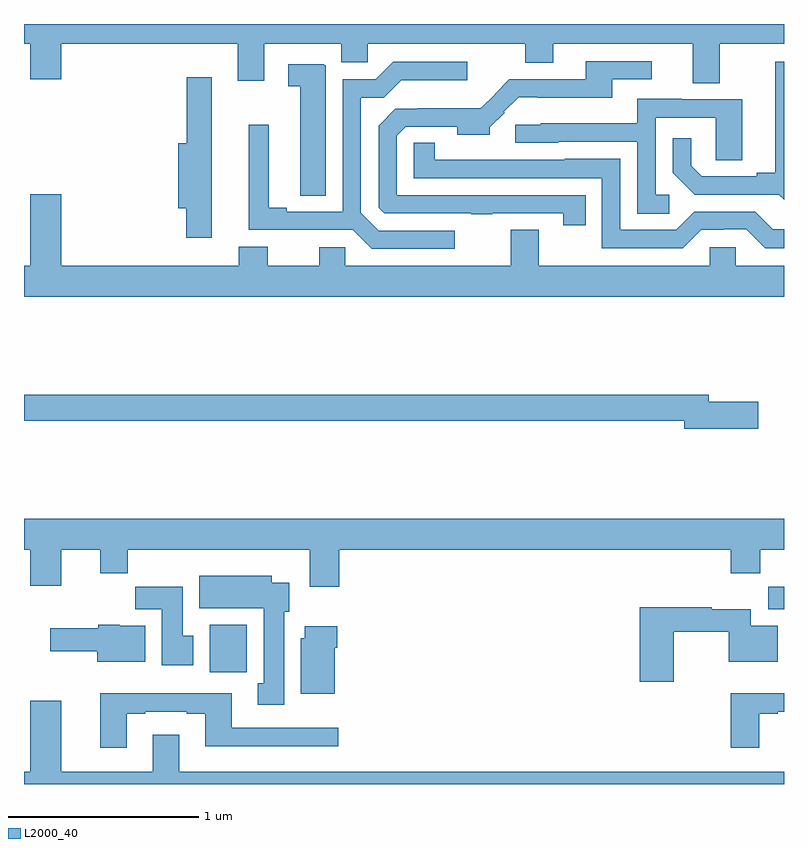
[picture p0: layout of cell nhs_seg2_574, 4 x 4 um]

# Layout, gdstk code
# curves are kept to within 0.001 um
import gdstk
lib = gdstk.Library(unit=1e-6, precision=1e-09)
def R(c, l, rs):  # rectangles x0, y0, x1, y1
    for r in rs: c.add(gdstk.rectangle(r[:2], r[2:], *l))
def P(c, l, *ps):  # polygons
    for p in ps: c.add(gdstk.Polygon(p, *l))
L2000_40 = (2000, 40)

nhs_seg2_574 = lib.new_cell('nhs_seg2_574')
R(nhs_seg2_574, L2000_40, [(141.977,584.388,142.173,584.638), (144.916,584.72,145,584.838)])
P(nhs_seg2_574, L2000_40, [(144.661,587.696),(145,587.696),(145,587.8),(141,587.8),(141,587.696),(141.032,587.696),(141.032,587.508),(141.196,587.508),(141.196,587.696),(142.124,587.696),(142.124,587.502),(142.264,587.502),(142.264,587.696),(142.67,587.696),(142.67,587.598),(142.809,587.598),(142.809,587.696),(143.638,587.696),(143.638,587.597),(143.785,587.597),(143.785,587.696),(144.521,587.696),(144.521,587.488),(144.661,587.488)],
  [(143.957,586.899),(142.962,586.899),(142.962,587.211),(143.01,587.259),(143.279,587.259),(143.279,587.216),(143.45,587.216),(143.45,587.256),(143.529,587.334),(143.526,587.337),(143.603,587.414),(143.704,587.414),(143.704,587.411),(144.097,587.411),(144.097,587.508),(144.304,587.508),(144.304,587.604),(143.957,587.604),(143.957,587.508),(143.553,587.508),(143.477,587.431),(143.479,587.429),(143.405,587.356),(143.071,587.356),(143.071,587.354),(142.955,587.354),(142.866,587.265),(142.866,586.833),(142.896,586.803),(143.353,586.803),(143.353,586.798),(143.465,586.798),(143.465,586.803),(143.839,586.803),(143.839,586.74),(143.957,586.74)],
  [(143.266,586.713),(142.866,586.713),(142.773,586.806),(142.773,587.413),(142.894,587.413),(142.985,587.504),(143.332,587.504),(143.332,587.601),(142.944,587.601),(142.851,587.508),(142.677,587.508),(142.677,586.812),(142.384,586.812),(142.384,586.832),(142.288,586.832),(142.288,587.269),(142.184,587.269),(142.184,586.716),(142.73,586.716),(142.829,586.617),(143.266,586.617)],
  [(145,587.601),(144.953,587.601),(144.953,587.018),(144.857,587.018),(144.857,586.998),(144.568,586.998),(144.511,587.055),(144.511,587.2),(144.414,587.2),(144.414,587.018),(144.53,586.902),(144.972,586.902),(145,586.875)],
  [(142.588,587.579),(142.578,587.589),(142.392,587.589),(142.392,587.473),(142.454,587.473),(142.454,586.897),(142.588,586.897)],
  [(141.988,587.521),(141.857,587.521),(141.857,587.173),(141.812,587.173),(141.812,586.829),(141.854,586.829),(141.854,586.674),(141.988,586.674)],
  [(144.397,586.902),(144.324,586.902),(144.324,587.307),(144.642,587.307),(144.642,587.083),(144.781,587.083),(144.781,587.403),(144.463,587.403),(144.463,587.407),(144.227,587.407),(144.227,587.278),(143.721,587.278),(143.721,587.271),(143.586,587.271),(143.586,587.175),(143.811,587.175),(143.811,587.181),(144.228,587.181),(144.228,586.801),(144.397,586.801)],
  [(145,586.719),(144.942,586.719),(144.849,586.812),(144.528,586.812),(144.432,586.716),(144.138,586.716),(144.138,587.092),(143.847,587.092),(143.847,587.085),(143.161,587.086),(143.161,587.174),(143.052,587.174),(143.052,586.989),(144.042,586.989),(144.042,586.62),(144.468,586.62),(144.564,586.716),(144.684,586.716),(144.684,586.719),(144.801,586.719),(144.901,586.619),(145,586.619)],
  [(145,586.528),(144.747,586.528),(144.747,586.626),(144.609,586.626),(144.609,586.528),(143.709,586.528),(143.709,586.718),(143.561,586.718),(143.561,586.528),(142.692,586.528),(142.692,586.626),(142.553,586.626),(142.553,586.528),(142.282,586.528),(142.282,586.627),(142.13,586.627),(142.13,586.528),(141.196,586.528),(141.196,586.903),(141.032,586.903),(141.032,586.528),(141,586.528),(141,586.364),(145,586.364)],
  [(144.865,585.812),(144.604,585.812),(144.604,585.848),(141,585.848),(141,585.712),(144.476,585.712),(144.476,585.67),(144.865,585.67)],
  [(142.658,585.032),(144.719,585.032),(144.719,584.908),(144.875,584.908),(144.875,585.032),(145,585.032),(145,585.196),(141,585.196),(141,585.032),(141.032,585.032),(141.032,584.844),(141.196,584.844),(141.196,585.032),(141.401,585.032),(141.401,584.908),(141.545,584.908),(141.545,585.032),(142.505,585.032),(142.505,584.838),(142.658,584.838)],
  [(142.369,584.706),(142.396,584.706),(142.396,584.86),(142.303,584.86),(142.303,584.896),(141.923,584.896),(141.923,584.726),(142.262,584.726),(142.262,584.329),(142.229,584.329),(142.229,584.217),(142.369,584.217)],
  [(141.892,584.58),(141.835,584.58),(141.835,584.838),(141.586,584.838),(141.586,584.72),(141.725,584.72),(141.725,584.424),(141.892,584.424)],
  [(144.42,584.602),(144.709,584.602),(144.709,584.444),(144.967,584.444),(144.967,584.632),(144.826,584.632),(144.826,584.72),(144.62,584.72),(144.62,584.731),(144.242,584.731),(144.242,584.337),(144.42,584.337)],
  [(141.637,584.632),(141.504,584.632),(141.504,584.638),(141.39,584.638),(141.39,584.62),(141.138,584.62),(141.138,584.498),(141.386,584.498),(141.386,584.444),(141.637,584.444)],
  [(142.636,584.516),(142.649,584.516),(142.649,584.629),(142.478,584.629),(142.478,584.568),(142.457,584.568),(142.457,584.276),(142.636,584.276)],
  [(144.871,584.169),(144.967,584.169),(144.967,584.181),(145,584.181),(145,584.278),(144.719,584.278),(144.719,583.992),(144.871,583.992)],
  [(141.541,584.169),(141.637,584.169),(141.637,584.181),(141.857,584.181),(141.857,584.169),(141.953,584.169),(141.953,584),(142.654,584),(142.654,584.097),(142.093,584.097),(142.093,584.278),(141.401,584.278),(141.401,583.992),(141.541,583.992)],
  [(145,583.864),(141.817,583.864),(141.817,584.059),(141.677,584.059),(141.677,583.864),(141.196,583.864),(141.196,584.239),(141.032,584.239),(141.032,583.864),(141,583.864),(141,583.8),(145,583.8)])

lib.write_gds('nhs_seg2_574.gds')
